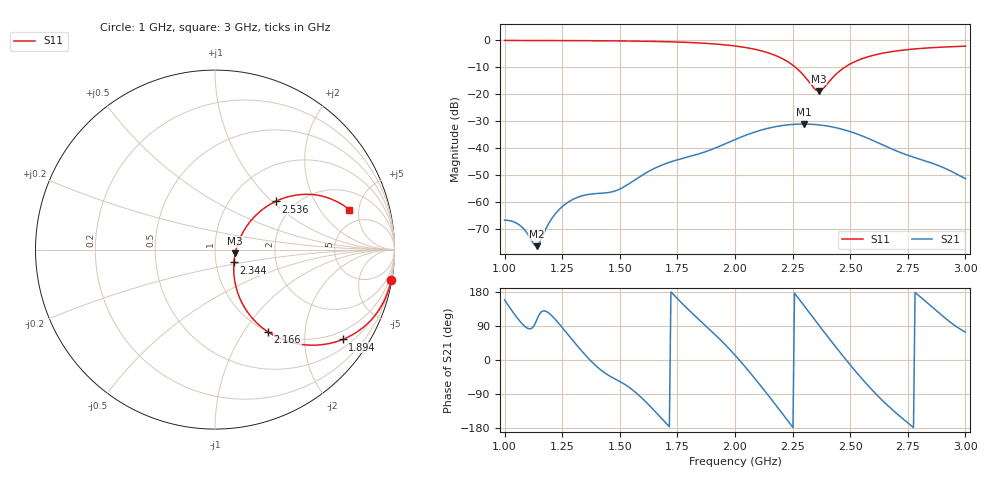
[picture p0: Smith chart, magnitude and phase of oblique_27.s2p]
! TOUCHSTONE file generated by CST MICROWAVE STUDIO
! Date and time: Tue Mar 18 00:00:56 2025
! Project name: oblique.cst
! Parameters = {Tilt=30; Fracture=1; B=10; D=160; F=15; Feed=2.85625; L=100; M=50; R=0.384908; S=1; Theta=270; length=57.125; wave=114.25}
! Header version: 2024
! Port assignment regex: !\s*Touchstone port\s*([0-9]+)\s*=\s*(CST MWS port|CST DES external port|CST DES block port)\s*(.+)\s* \(\"(.*)\"\)(\s*mode\s*([0-9]+))?.*
! Touchstone port assignment:
! Touchstone port 1 = CST MWS port 1 ("")
! Touchstone port 2 = CST MWS port 2 ("")
# GHz S DB R 50
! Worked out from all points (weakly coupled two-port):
!   303 points, 1 GHz to 3 GHz, reference 50 ohm
!   highest |S21| = -31.09 dB at 2.298 GHz (marker M1); lowest = -76.5 dB at 1.139 GHz (marker M2)
!   lowest |S11| = -18.8 dB at 2.364 GHz (marker M3), VSWR 1.26, Z = 62.6 - j2.63 ohm
!   |S11| at or under -10 dB: 2.262 GHz to 2.476 GHz (213.8 MHz wide, 9.02 % of centre)
!   S12 and S22 are empty: the file has one direction only
!   S11 on the Smith chart (normalised r, x): 1 GHz: 0, -12; 1.894 GHz: 0.73, -3.00; 2.166 GHz: 0.99, -1.30; 2.344 GHz: 1.22, -0.18; 2.536 GHz: 1.59, +1.05; 3 GHz: 3.46, +3.93
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1  -0.02 -9.8  -66.85 158.7  -200.00 0.0  -200.00 0.0
1.06623  -0.03 -10.7  -68.76 102.4  -200.00 0.0  -200.00 0.0
1.13907  -0.04 -11.8  -76.51 105.1  -200.00 0.0  -200.00 0.0
1.19205  -0.05 -12.6  -67.98 123.7  -200.00 0.0  -200.00 0.0
1.23179  -0.06 -13.3  -63.32 99.1  -200.00 0.0  -200.00 0.0
1.27815  -0.08 -14.1  -60.01 65.0  -200.00 0.0  -200.00 0.0
1.33775  -0.10 -15.3  -57.76 21.7  -200.00 0.0  -200.00 0.0
1.48344  -0.18 -18.6  -55.87 -51.3  -200.00 0.0  -200.00 0.0
1.66887  -0.41 -24.4  -46.87 -145.9  -200.00 0.0  -200.00 0.0
1.89404  -1.21 -35.1  -40.71 78.2  -200.00 0.0  -200.00 0.0
2  -2.08 -42.4  -36.88 12.8  -200.00 0.0  -200.00 0.0
2.16556  -5.27 -57.3  -32.25 -109.8  -200.00 0.0  -200.00 0.0
2.23841  -8.46 -62.7  -31.32 -167.6  -200.00 0.0  -200.00 0.0
2.29801  -12.98 -59.5  -31.09 144.6  -200.00 0.0  -200.00 0.0
2.33775  -17.24 -40.4  -31.21 112.8  -200.00 0.0  -200.00 0.0
2.34437  -17.88 -34.2  -31.25 107.5  -200.00 0.0  -200.00 0.0
2.36424  -18.81 -10.4  -31.41 91.7  -200.00 0.0  -200.00 0.0
2.45695  -11.20 39.6  -32.86 19.4  -200.00 0.0  -200.00 0.0
2.53642  -7.31 38.5  -35.02 -39.2  -200.00 0.0  -200.00 0.0
2.66887  -4.33 30.5  -39.93 -123.5  -200.00 0.0  -200.00 0.0
2.88742  -2.55 20.1  -46.68 123.1  -200.00 0.0  -200.00 0.0
3  -2.16 16.6  -51.41 73.8  -200.00 0.0  -200.00 0.0
